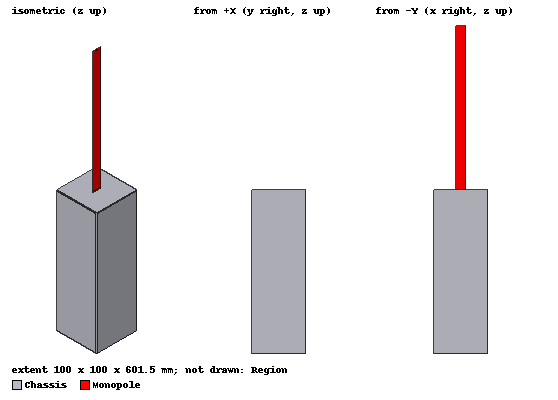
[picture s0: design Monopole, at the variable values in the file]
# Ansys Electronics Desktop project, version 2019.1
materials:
  vacuum: permittivity=1
  aluminum: permeability=1.000021 conductivity=38000000
  steel_stainless: conductivity=1100000

design Monopole (HFSS, DrivenTerminal, model units mm)
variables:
  BodyX = 100mm
  BodyY = 100mm
  BodyZ = 300mm
  AntX = 20mm
  AntY = 1mm
  PortH = 1.52mm
  AntL = 300mm
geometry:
  Chassis [aluminum] = box(corner=(-BodyX/2, -BodyY/2, -BodyZ), size=(BodyX, BodyY, BodyZ))
  Monopole [steel_stainless] = box(corner=(-AntX/2, -AntY/2, PortH), size=(AntX, AntY, AntL))
  Region [vacuum] = region(percentage_offset: +X=1000, -X=1000, +Y=1000, -Y=1000, +Z=100, -Z=100)
  Port = rectangle(corner=(-AntX/2, 0mm, 0mm), z_size=PortH, x_size=AntX)
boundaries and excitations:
  Rad1: Radiation Objects=Region
  Port_T1: Terminal port=1 Edges=Port.edge(z opposite corner) TerminalResistance=50ohm
  1: Lumped Port Faces=Port.face Impedance=50ohm
  reference conductors: Chassis
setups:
  Setup1: HfssDriven Frequency=433MHz MaxDeltaS=0.01 MaximumPasses=25 MinimumPasses=2 MinimumConvergedPasses=2 PercentRefinement=30 BasisOrder=-1 PortAccuracy=2
    sweep Sweep: 100MHz to 1GHz, 451 points; Type=Fast SaveFields
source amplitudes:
  1:1: 1V 0deg
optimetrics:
  ParametricSetup1: Parametric Sim._Setups=[Setup1]
    sweep AntX: LIN 5mm 40mm 5mm
    sweep AntL: LIN 250mm 450mm 25mm
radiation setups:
  Infinite Sphere1: Infinite Sphere Theta=0deg..180deg step 2deg Phi=-180deg..180deg step 2deg
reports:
  Terminal S Parameter Plot 1: dB(St(Port_T1,Port_T1)) vs Freq on Setup1 : Sweep [AntX=all AntL=all]
